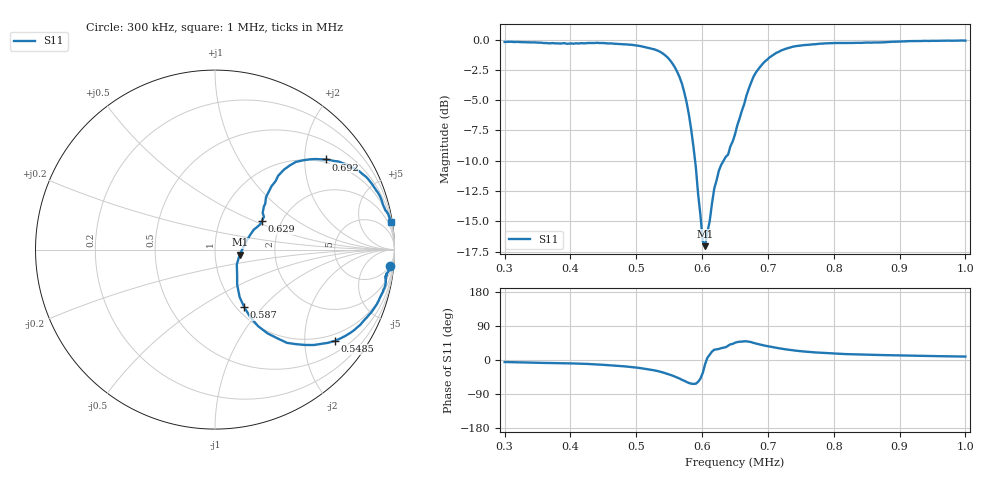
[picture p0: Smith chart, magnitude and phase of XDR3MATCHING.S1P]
!Agilent Technologies,E5071C,MY46100305,A.07.02
!Date: Fri Jan 01 00:18:29 1988
!Data & Calibration Information:
!Freq	S11:SOLT1(ON)
# Hz S MA R 50
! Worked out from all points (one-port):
!   201 points, 300 kHz to 1 MHz, reference 50 ohm
!   lowest |S11| = -17.1 dB at 604.5 kHz (marker M1), VSWR 1.33, Z = 65.8 - j3.79 ohm
!   |S11| at or under -10 dB: 589.4 kHz to 632.6 kHz (43.25 kHz wide, 7.08 % of centre)
!   S11 on the Smith chart (normalised r, x): 300 kHz: 5, -20; 548.5 kHz: 0.80, -2.76; 587 kHz: 1.08, -0.80; 629 kHz: 1.59, +0.55; 692 kHz: 0.92, +2.51; 1 MHz: 1, +13
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300000  0.978 -5.3
387500  0.9654 -8.6
426000  0.9683 -10.4
475000  0.9592 -15.6
520500  0.9212 -25.0
534500  0.8961 -30.0
548500  0.8395 -37.3
562500  0.7333 -46.4
569500  0.6566 -52.3
576500  0.5509 -57.9
587000  0.3588 -63.1
594000  0.2297 -57.5
601000  0.1473 -34.4
604500  0.1403 -11.6
611500  0.1776 13.9
618500  0.243 27.2
629000  0.3039 31.2
639500  0.3352 37.6
650000  0.4064 45.7
664000  0.5417 49.5
674500  0.6647 47.3
692000  0.7948 39.2
713000  0.8822 32.0
737500  0.9342 25.7
779500  0.9624 19.1
825000  0.9683 15.2
912500  0.9856 11.6
1000000  0.9906 9.1
